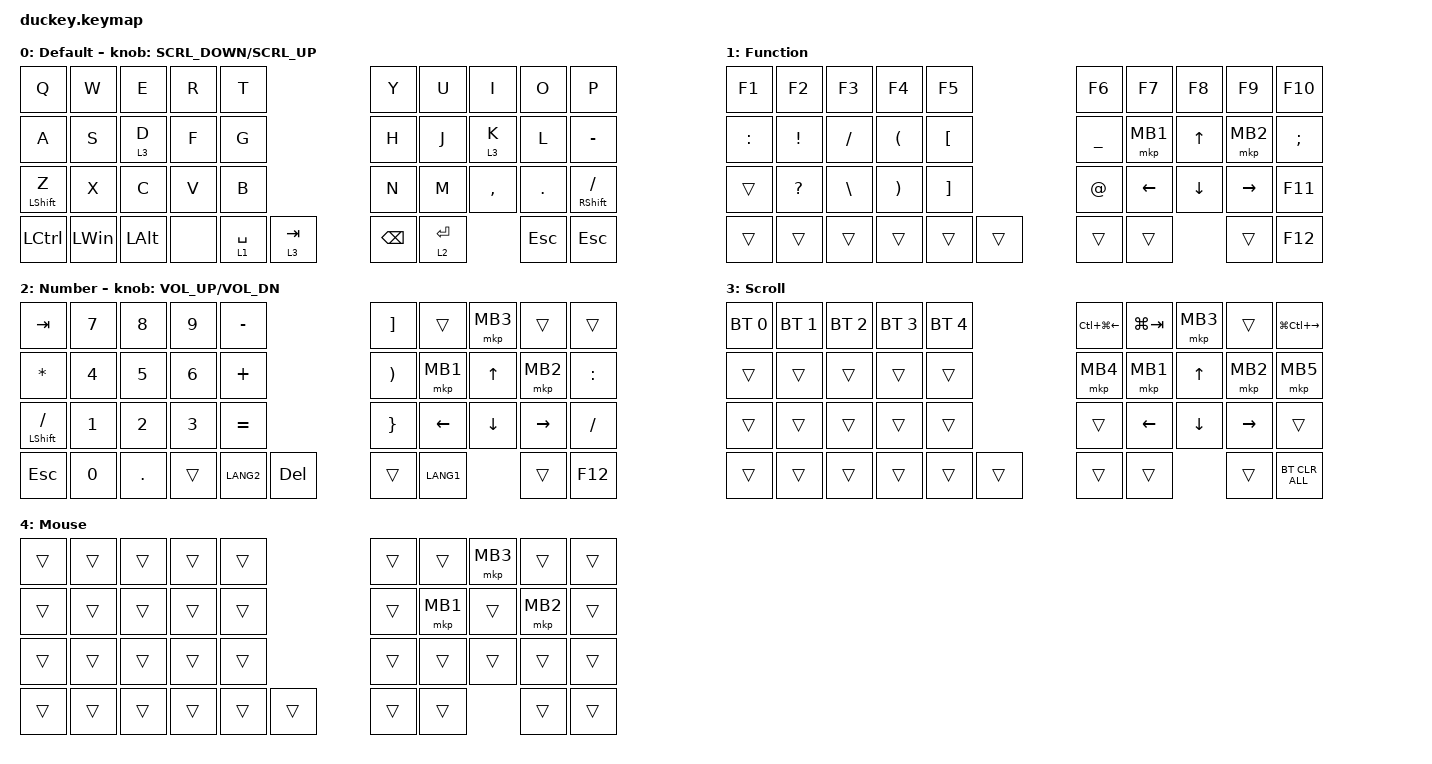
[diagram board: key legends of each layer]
#define ZMK_POINTING_DEFAULT_SCRL_VAL 200


#include <dt-bindings/zmk/mouse.h>
#include <behaviors.dtsi>
#include <dt-bindings/zmk/bt.h>
#include <dt-bindings/zmk/keys.h>
#include <dt-bindings/zmk/pointing.h>

#define DEFAULT 0
#define FUNCTION 1
#define NUMBER 2
#define SCROLL 3
#define MOUSE 4

&mt {
    tapping-term-ms = <300>;
    flavor = "balanced";
};

&lt {
    quick-tap-ms = <300>;
};

/ {
    combos {
        compatible = "zmk,combos";

        tab {
            bindings = <&kp TAB>;
            key-positions = <11 12>;
            layers = <0>;
        };

        shift_tab {
            bindings = <&kp LS(TAB)>;
            key-positions = <12 13>;
        };

        bt_clear {
            bindings = <&bt BT_CLR>;
            key-positions = <0 4>;
            layers = <3>;
        };

        bootloader {
            bindings = <&bootloader>;
            key-positions = <1 2 3>;
            layers = <3>;
        };
    };

    behaviors {
        encoder_msc: sensor_rotate_msc {
            compatible = "zmk,behavior-sensor-rotate-var";
            #sensor-binding-cells = <2>;
            bindings = <&msc>, <&msc>;
            tap-ms = <20>;
        };

        encoder_kp: sensor_rotate_kp {
            compatible = "zmk,behavior-sensor-rotate-var";
            #sensor-binding-cells = <2>;
            bindings = <&kp>, <&kp>;
        };
    };

    keymap {
        compatible = "zmk,keymap";

        default_layer {
            display-name = "Default";
            bindings = <
&kp Q             &kp W         &kp E         &kp R  &kp T                                      &kp Y        &kp U  &kp I      &kp O    &kp P
&kp A             &kp S         &lt 3 D       &kp F  &kp G                                      &kp H        &kp J  &lt 3 K    &kp L    &kp MINUS
&mt LEFT_SHIFT Z  &kp X         &kp C         &kp V  &kp B                                      &kp N        &kp M  &kp COMMA  &kp DOT  &mt RIGHT_SHIFT SLASH
&kp LCTRL         &kp LEFT_WIN  &kp LEFT_ALT  &none  &lt 1 SPACE  &lt 3 TAB    &kp BACKSPACE   &lt 2 ENTER         &kp ESC    &kp ESC
            >;

            sensor-bindings = <&encoder_msc SCRL_DOWN SCRL_UP>;
        };

        function_layer {
            display-name = "Function";
            bindings = <
&kp F1     &kp F2           &kp F3     &kp F4                 &kp F5                                &kp F6          &kp F7    &kp F8    &kp F9     &kp F10
&kp COLON  &kp EXCLAMATION  &kp SLASH  &kp LEFT_PARENTHESIS   &kp LEFT_BRACKET                      &kp UNDERSCORE  &mkp MB1  &kp UP    &mkp MB2   &kp SEMICOLON
&trans     &kp QUESTION     &kp BSLH   &kp RIGHT_PARENTHESIS  &kp RIGHT_BRACKET                     &kp AT_SIGN     &kp LEFT  &kp DOWN  &kp RIGHT  &kp F11
&trans     &trans           &trans     &trans                 &trans            &trans    &trans    &trans          &trans     &kp F12
            >;
        };

        number_layer {
            display-name = "Number";
            bindings = <
&kp TAB               &kp N7        &kp N8        &kp N9        &kp MINUS                          &kp RBKT   &trans    &mkp MB3  &trans     &trans
&kp ASTERISK          &kp NUMBER_4  &kp N5        &kp NUMBER_6  &kp PLUS                           &kp RPAR   &mkp MB1  &kp UP    &mkp MB2   &kp COLON
&mt LEFT_SHIFT SLASH  &kp NUMBER_1  &kp NUMBER_2  &kp NUMBER_3  &kp EQUAL                          &kp RBRC   &kp LEFT  &kp DOWN  &kp RIGHT  &kp SLASH
&kp ESCAPE            &kp N0        &kp PERIOD    &trans        &kp LANG2     &kp DEL    &trans    &kp LANG1       &trans     &kp F12
            >;

            sensor-bindings = <&encoder_kp C_VOL_UP C_VOL_DN>;
        };

        scroll_layer {
            display-name = "Scroll";
            bindings = <
&bt BT_SEL 0  &bt BT_SEL 1  &bt BT_SEL 2  &bt BT_SEL 3  &bt BT_SEL 4                    &kp LC(LG(LEFT))  &kp LG(TAB)  &mkp MB3  &trans     &kp LG(LC(RIGHT))
&trans        &trans        &trans        &trans        &trans                          &mkp MB4          &mkp MB1     &kp UP    &mkp MB2   &mkp MB5
&trans        &trans        &trans        &trans        &trans                          &trans            &kp LEFT     &kp DOWN  &kp RIGHT  &trans
&trans        &trans        &trans        &trans        &trans        &trans    &trans  &trans          &trans     &bt BT_CLR_ALL
            >;
        };

        mouse_layer {
            display-name = "Mouse";
            bindings = <
&trans  &trans  &trans  &trans  &trans                    &trans  &trans    &mkp MB3  &trans    &trans
&trans  &trans  &trans  &trans  &trans                    &trans  &mkp MB1  &trans    &mkp MB2  &trans
&trans  &trans  &trans  &trans  &trans                    &trans  &trans    &trans    &trans    &trans
&trans  &trans  &trans  &trans  &trans  &trans    &trans  &trans          &trans     &trans
            >;
        };
    };
};
